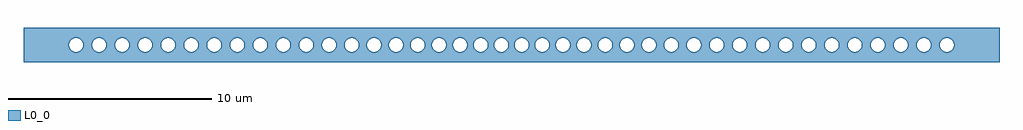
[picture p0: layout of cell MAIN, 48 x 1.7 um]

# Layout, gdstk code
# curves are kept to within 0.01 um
import gdstk
lib = gdstk.Library(unit=1e-6, precision=1e-09)
def P(c, l, *ps):  # polygons
    for p in ps: c.add(gdstk.Polygon(p, *l))
L0_0 = (0, 0)

main = lib.new_cell('MAIN')
P(main, L0_0, [(-21.446,-0.352),(-21.568,-0.318),(-21.673,-0.239),(-21.673,-0.85),(-21.446,-0.85)],
  [(-21.435,0.353),(-21.305,0.337),(-21.189,0.274),(-21.104,0.173),(-21.064,0.058),(-21.064,0.85),(-21.446,0.85),(-21.446,0.352)],
  [(-21.064,-0.058),(-21.104,-0.173),(-21.189,-0.274),(-21.305,-0.337),(-21.446,-0.352),(-21.446,-0.85),(-21.064,-0.85)],
  [(24,0.85),(21.675,0.85),(21.675,0.237),(21.734,0.149),(21.766,0.021),(21.746,-0.12),(21.675,-0.237),(21.675,-0.85),(24,-0.85)],
  [(-20.366,0.343),(-20.234,0.351),(-20.123,0.317),(-20.018,0.237),(-19.95,0.125),(-19.95,0.85),(-20.376,0.85),(-20.376,0.34)],
  [(-19.95,-0.125),(-20.018,-0.237),(-20.123,-0.317),(-20.255,-0.353),(-20.376,-0.34),(-20.376,-0.85),(-19.95,-0.85)],
  [(-20.634,0.003),(-20.618,0.107),(-20.562,0.215),(-20.486,0.288),(-20.376,0.34),(-20.376,0.85),(-21.064,0.85),(-21.059,0)],
  [(-19.298,0.32),(-19.171,0.353),(-19.04,0.337),(-18.924,0.274),(-18.845,0.182),(-18.845,0.85),(-19.308,0.85),(-19.308,0.315)],
  [(-18.845,-0.182),(-18.924,-0.274),(-19.05,-0.34),(-19.192,-0.351),(-19.308,-0.315),(-19.308,-0.85),(-18.845,-0.85)],
  [(-19.502,0.003),(-19.49,0.092),(-19.445,0.193),(-19.39,0.258),(-19.308,0.315),(-19.308,0.85),(-19.95,0.85),(-19.95,0.125),(-19.927,0)],
  [(-18.221,0.288),(-18.091,0.346),(-17.97,0.351),(-17.849,0.312),(-17.754,0.237),(-17.754,0.85),(-18.23,0.85)],
  [(-17.754,-0.237),(-17.849,-0.312),(-17.98,-0.352),(-18.117,-0.339),(-18.23,-0.282),(-18.23,-0.85),(-17.754,-0.85)],
  [(-18.37,0.003),(-18.331,0.161),(-18.23,0.282),(-18.23,0.85),(-18.845,0.85),(-18.845,0.182),(-18.806,0.089),(-18.795,0)],
  [(-17.141,0.243),(-17.039,0.318),(-16.906,0.353),(-16.776,0.337),(-16.668,0.28),(-16.668,0.85),(-17.144,0.85)],
  [(-16.668,-0.28),(-16.776,-0.337),(-16.906,-0.353),(-17.039,-0.318),(-17.144,-0.239),(-17.144,-0.85),(-16.668,-0.85)],
  [(-17.237,0.003),(-17.216,0.122),(-17.144,0.239),(-17.144,0.85),(-17.754,0.85),(-17.754,0.237),(-17.683,0.12),(-17.663,0)],
  [(-16.051,0.188),(-15.961,0.285),(-15.842,0.342),(-15.705,0.351),(-15.594,0.317),(-15.594,0.85),(-16.053,0.85)],
  [(-15.594,-0.317),(-15.705,-0.351),(-15.842,-0.342),(-15.961,-0.285),(-16.053,-0.184),(-16.053,-0.85),(-15.594,-0.85)],
  [(-16.105,0.003),(-16.093,0.092),(-16.053,0.184),(-16.053,0.85),(-16.668,0.85),(-16.668,0.28),(-16.565,0.154),(-16.53,0)],
  [(-14.947,0.132),(-14.88,0.239),(-14.774,0.318),(-14.642,0.353),(-14.521,0.34),(-14.521,0.85),(-14.949,0.85)],
  [(-14.521,-0.34),(-14.642,-0.353),(-14.774,-0.318),(-14.88,-0.239),(-14.949,-0.127),(-14.949,-0.85),(-14.521,-0.85)],
  [(-14.973,0.003),(-14.949,0.127),(-14.949,0.85),(-15.594,0.85),(-15.594,0.317),(-15.511,0.26),(-15.448,0.182),(-15.409,0.089),(-15.398,0)],
  [(-13.834,0.066),(-13.789,0.184),(-13.705,0.279),(-13.598,0.336),(-13.451,0.352),(-13.451,0.85),(-13.835,0.85)],
  [(-13.451,-0.352),(-13.598,-0.336),(-13.705,-0.279),(-13.789,-0.184),(-13.835,-0.061),(-13.835,-0.85),(-13.451,-0.85)],
  [(-13.84,0.003),(-13.835,0.85),(-14.521,0.85),(-14.521,0.34),(-14.416,0.29),(-14.333,0.208),(-14.286,0.12),(-14.266,0)],
  [(-12.708,0.003),(-12.681,0.137),(-12.608,0.247),(-12.505,0.32),(-12.388,0.352),(-12.388,0.85),(-13.133,0.85),(-13.133,-0.003)],
  [(-12.388,-0.352),(-12.505,-0.32),(-12.608,-0.247),(-12.681,-0.137),(-12.708,-0.003),(-13.133,-0.003),(-13.133,-0.85),(-12.388,-0.85)],
  [(-12.377,0.353),(-12.246,0.337),(-12.122,0.267),(-12.043,0.168),(-12.007,0.063),(-12.007,0.85),(-12.388,0.85),(-12.388,0.352)],
  [(-12.007,-0.063),(-12.051,-0.182),(-12.152,-0.29),(-12.256,-0.34),(-12.388,-0.352),(-12.388,-0.85),(-12.007,-0.85)],
  [(-13.133,0.85),(-13.451,0.85),(-13.451,0.352),(-13.334,0.319),(-13.235,0.249),(-13.156,0.125),(-13.133,0)],
  [(-11.308,0.343),(-11.176,0.351),(-11.065,0.317),(-10.956,0.233),(-10.891,0.125),(-10.891,0.85),(-11.318,0.85),(-11.318,0.34)],
  [(-10.891,-0.125),(-10.956,-0.233),(-11.065,-0.317),(-11.197,-0.353),(-11.318,-0.34),(-11.318,-0.85),(-10.891,-0.85)],
  [(-11.576,0.003),(-11.558,0.112),(-11.497,0.223),(-11.41,0.3),(-11.318,0.34),(-11.318,0.85),(-12.007,0.85),(-12.001,0)],
  [(-10.243,0.32),(-10.115,0.353),(-9.994,0.34),(-9.869,0.274),(-9.792,0.186),(-9.792,0.85),(-10.252,0.85)],
  [(-9.792,-0.186),(-9.869,-0.274),(-9.994,-0.34),(-10.126,-0.352),(-10.252,-0.315),(-10.252,-0.85),(-9.792,-0.85)],
  [(-10.446,0.003),(-10.433,0.097),(-10.389,0.193),(-10.327,0.265),(-10.252,0.315),(-10.252,0.85),(-10.891,0.85),(-10.891,0.125),(-10.869,0)],
  [(-9.175,0.288),(-9.061,0.342),(-8.924,0.351),(-8.803,0.312),(-8.708,0.237),(-8.708,0.85),(-9.184,0.85)],
  [(-8.708,-0.237),(-8.803,-0.312),(-8.934,-0.352),(-9.061,-0.342),(-9.184,-0.282),(-9.184,-0.85),(-8.708,-0.85)],
  [(-9.324,0.003),(-9.312,0.092),(-9.283,0.166),(-9.184,0.282),(-9.184,0.85),(-9.792,0.85),(-9.792,0.186),(-9.75,0.089),(-9.739,0)],
  [(-8.119,0.239),(-8.014,0.318),(-7.881,0.353),(-7.75,0.337),(-7.643,0.28),(-7.643,0.85),(-8.123,0.85)],
  [(-7.643,-0.28),(-7.75,-0.337),(-7.892,-0.352),(-8.014,-0.318),(-8.123,-0.235),(-8.123,-0.85),(-7.643,-0.85)],
  [(-8.212,0.003),(-8.189,0.127),(-8.123,0.235),(-8.123,0.85),(-8.708,0.85),(-8.708,0.237),(-8.637,0.12),(-8.617,0)],
  [(-7.06,0.188),(-6.979,0.279),(-6.851,0.342),(-6.715,0.351),(-6.604,0.317),(-6.604,0.85),(-7.063,0.85)],
  [(-6.604,-0.317),(-6.736,-0.353),(-6.872,-0.336),(-6.979,-0.279),(-7.063,-0.184),(-7.063,-0.85),(-6.604,-0.85)],
  [(-7.114,0.003),(-7.104,0.087),(-7.063,0.184),(-7.063,0.85),(-7.643,0.85),(-7.643,0.28),(-7.54,0.154),(-7.505,0)],
  [(-6.009,0.127),(-5.936,0.243),(-5.834,0.318),(-5.701,0.353),(-5.581,0.34),(-5.581,0.85),(-6.01,0.85)],
  [(-5.581,-0.34),(-5.701,-0.353),(-5.834,-0.318),(-5.936,-0.243),(-6.01,-0.122),(-6.01,-0.85),(-5.581,-0.85)],
  [(-6.032,0.003),(-6.01,0.122),(-6.01,0.85),(-6.604,0.85),(-6.604,0.317),(-6.521,0.26),(-6.463,0.191),(-6.426,0.115),(-6.407,0)],
  [(-4.96,0.066),(-4.915,0.184),(-4.831,0.279),(-4.714,0.339),(-4.582,0.352),(-4.582,0.85),(-4.961,0.85)],
  [(-4.582,-0.352),(-4.714,-0.339),(-4.831,-0.279),(-4.915,-0.184),(-4.961,-0.061),(-4.961,-0.85),(-4.582,-0.85)],
  [(-4.966,0.003),(-4.961,0.85),(-5.581,0.85),(-5.581,0.34),(-5.48,0.293),(-5.399,0.217),(-5.344,0.115),(-5.325,0)],
  [(-3.917,0.003),(-3.894,0.127),(-3.821,0.243),(-3.719,0.318),(-3.597,0.352),(-3.597,0.85),(-4.259,0.85),(-4.259,-0.003)],
  [(-3.597,-0.352),(-3.719,-0.318),(-3.821,-0.243),(-3.888,-0.142),(-3.917,-0.003),(-4.259,-0.003),(-4.259,-0.85),(-3.597,-0.85)],
  [(-3.586,0.353),(-3.455,0.337),(-3.34,0.274),(-3.26,0.182),(-3.216,0.063),(-3.216,0.85),(-3.597,0.85),(-3.597,0.352)],
  [(-3.216,-0.063),(-3.26,-0.182),(-3.361,-0.29),(-3.481,-0.344),(-3.597,-0.352),(-3.597,-0.85),(-3.216,-0.85)],
  [(-4.259,0.85),(-4.582,0.85),(-4.582,0.352),(-4.46,0.319),(-4.361,0.249),(-4.282,0.125),(-4.259,0)],
  [(-2.62,0.342),(-2.484,0.351),(-2.363,0.312),(-2.271,0.241),(-2.199,0.125),(-2.199,0.85),(-2.631,0.85),(-2.631,0.339)],
  [(-2.199,-0.125),(-2.271,-0.241),(-2.377,-0.319),(-2.505,-0.353),(-2.631,-0.339),(-2.631,-0.85),(-2.199,-0.85)],
  [(-2.883,0.003),(-2.864,0.117),(-2.811,0.215),(-2.731,0.291),(-2.631,0.339),(-2.631,0.85),(-3.216,0.85),(-3.21,0)],
  [(-1.66,0.32),(-1.532,0.353),(-1.412,0.34),(-1.307,0.29),(-1.209,0.186),(-1.209,0.85),(-1.67,0.85),(-1.67,0.315)],
  [(-1.209,-0.186),(-1.307,-0.29),(-1.412,-0.34),(-1.554,-0.351),(-1.67,-0.315),(-1.67,-0.85),(-1.209,-0.85)],
  [(-1.863,0.003),(-1.853,0.087),(-1.812,0.184),(-1.752,0.258),(-1.67,0.315),(-1.67,0.85),(-2.199,0.85),(-2.199,0.125),(-2.176,0)],
  [(-0.706,0.288),(-0.576,0.346),(-0.455,0.351),(-0.334,0.312),(-0.239,0.237),(-0.239,0.85),(-0.714,0.85)],
  [(-0.239,-0.237),(-0.334,-0.312),(-0.465,-0.352),(-0.602,-0.339),(-0.714,-0.282),(-0.714,-0.85),(-0.239,-0.85)],
  [(-0.854,0.003),(-0.816,0.161),(-0.714,0.282),(-0.714,0.85),(-1.209,0.85),(-1.209,0.186),(-1.169,0.094),(-1.156,0)],
  [(0.24,0.239),(0.346,0.318),(0.478,0.353),(0.599,0.34),(0.712,0.283),(0.712,0.85),(0.237,0.85)],
  [(0.712,-0.283),(0.599,-0.34),(0.457,-0.351),(0.327,-0.308),(0.237,-0.235),(0.237,-0.85),(0.712,-0.85)],
  [(0.147,0.003),(0.167,0.117),(0.237,0.235),(0.237,0.85),(-0.239,0.85),(-0.239,0.237),(-0.166,0.115),(-0.147,0)],
  [(1.211,0.188),(1.292,0.279),(1.409,0.339),(1.535,0.353),(1.667,0.317),(1.667,0.85),(1.208,0.85)],
  [(1.667,-0.317),(1.535,-0.353),(1.409,-0.339),(1.292,-0.279),(1.208,-0.184),(1.208,-0.85),(1.667,-0.85)],
  [(1.156,0.003),(1.171,0.102),(1.208,0.184),(1.208,0.85),(0.712,0.85),(0.712,0.283),(0.815,0.163),(0.846,0.079),(0.854,0)],
  [(2.2,0.127),(2.269,0.239),(2.375,0.318),(2.507,0.353),(2.628,0.34),(2.628,0.85),(2.198,0.85)],
  [(2.628,-0.34),(2.507,-0.353),(2.375,-0.318),(2.269,-0.239),(2.198,-0.122),(2.198,-0.85),(2.628,-0.85)],
  [(2.176,0.003),(2.198,0.122),(2.198,0.85),(1.667,0.85),(1.667,0.317),(1.75,0.26),(1.808,0.191),(1.851,0.094),(1.863,0)],
  [(3.216,0.066),(3.256,0.175),(3.346,0.279),(3.473,0.342),(3.594,0.352),(3.594,0.85),(3.215,0.85)],
  [(3.594,-0.352),(3.473,-0.342),(3.346,-0.279),(3.256,-0.175),(3.215,-0.061),(3.215,-0.85),(3.594,-0.85)],
  [(3.917,0.85),(3.594,0.85),(3.594,0.352),(3.721,0.317),(3.819,0.245),(3.895,0.125),(3.917,0.003)],
  [(3.917,-0.003),(3.895,-0.125),(3.819,-0.245),(3.721,-0.317),(3.594,-0.352),(3.594,-0.85),(3.917,-0.85)],
  [(4.259,0.003),(4.279,0.117),(4.352,0.239),(4.458,0.318),(4.58,0.352),(4.58,0.85),(3.917,0.85),(3.917,-0.003)],
  [(4.58,-0.352),(4.458,-0.318),(4.352,-0.239),(4.279,-0.117),(4.259,-0.003),(3.917,-0.003),(3.917,-0.85),(4.58,-0.85)],
  [(4.59,0.353),(4.721,0.337),(4.837,0.274),(4.911,0.191),(4.961,0.063),(4.961,0.85),(4.58,0.85),(4.58,0.352)],
  [(4.961,-0.063),(4.911,-0.191),(4.816,-0.29),(4.696,-0.344),(4.58,-0.352),(4.58,-0.85),(4.961,-0.85)],
  [(3.21,0.003),(3.215,0.85),(2.628,0.85),(2.628,0.34),(2.733,0.29),(2.816,0.208),(2.863,0.12),(2.883,0)],
  [(5.588,0.342),(5.725,0.351),(5.836,0.317),(5.934,0.245),(6.009,0.125),(6.009,0.85),(5.578,0.85),(5.578,0.339)],
  [(6.009,-0.125),(5.934,-0.245),(5.836,-0.317),(5.704,-0.353),(5.578,-0.339),(5.578,-0.85),(6.009,-0.85)],
  [(5.325,0.003),(5.343,0.112),(5.394,0.21),(5.469,0.285),(5.578,0.339),(5.578,0.85),(4.961,0.85),(4.966,0)],
  [(6.611,0.32),(6.738,0.353),(6.859,0.34),(6.985,0.274),(7.061,0.186),(7.061,0.85),(6.601,0.85),(6.601,0.315)],
  [(7.061,-0.186),(6.985,-0.274),(6.859,-0.34),(6.717,-0.351),(6.601,-0.315),(6.601,-0.85),(7.061,-0.85)],
  [(6.407,0.003),(6.419,0.092),(6.459,0.184),(6.519,0.258),(6.601,0.315),(6.601,0.85),(6.009,0.85),(6.009,0.125),(6.032,0)],
  [(7.649,0.285),(7.768,0.342),(7.905,0.351),(8.035,0.307),(8.121,0.237),(8.121,0.85),(7.641,0.85)],
  [(8.121,-0.237),(8.016,-0.317),(7.884,-0.353),(7.748,-0.336),(7.641,-0.279),(7.641,-0.85),(8.121,-0.85)],
  [(7.505,0.003),(7.541,0.156),(7.641,0.279),(7.641,0.85),(7.061,0.85),(7.061,0.186),(7.102,0.094),(7.114,0)],
  [(8.71,0.239),(8.815,0.318),(8.937,0.352),(9.068,0.34),(9.182,0.283),(9.182,0.85),(8.706,0.85)],
  [(9.182,-0.283),(9.068,-0.34),(8.927,-0.351),(8.815,-0.318),(8.706,-0.235),(8.706,-0.85),(9.182,-0.85)],
  [(8.617,0.003),(8.638,0.122),(8.706,0.235),(8.706,0.85),(8.121,0.85),(8.121,0.237),(8.19,0.125),(8.212,0)],
  [(9.793,0.188),(9.883,0.285),(10.002,0.342),(10.139,0.351),(10.25,0.317),(10.25,0.85),(9.791,0.85)],
  [(10.25,-0.317),(10.139,-0.351),(10.002,-0.342),(9.883,-0.285),(9.791,-0.184),(9.791,-0.85),(10.25,-0.85)],
  [(9.739,0.003),(9.751,0.092),(9.791,0.184),(9.791,0.85),(9.182,0.85),(9.182,0.283),(9.279,0.173),(9.314,0.084),(9.324,0)],
  [(10.892,0.127),(10.965,0.243),(11.067,0.318),(11.189,0.352),(11.315,0.341),(11.315,0.85),(10.89,0.85)],
  [(11.315,-0.341),(11.189,-0.352),(11.067,-0.318),(10.965,-0.243),(10.89,-0.122),(10.89,-0.85),(11.315,-0.85)],
  [(10.869,0.003),(10.89,0.122),(10.89,0.85),(10.25,0.85),(10.25,0.317),(10.333,0.26),(10.396,0.182),(10.435,0.089),(10.446,0)],
  [(12.007,0.066),(12.047,0.175),(12.137,0.279),(12.264,0.342),(12.385,0.352),(12.385,0.85),(12.006,0.85)],
  [(12.385,-0.352),(12.264,-0.342),(12.137,-0.279),(12.047,-0.175),(12.006,-0.061),(12.006,-0.85),(12.385,-0.85)],
  [(12.708,0.85),(12.385,0.85),(12.385,0.352),(12.512,0.317),(12.61,0.245),(12.68,0.139),(12.708,0.003)],
  [(12.708,-0.003),(12.68,-0.139),(12.61,-0.245),(12.512,-0.317),(12.385,-0.352),(12.385,-0.85),(12.708,-0.85)],
  [(13.133,0.003),(13.153,0.117),(13.226,0.239),(13.322,0.313),(13.448,0.351),(13.448,0.85),(12.708,0.85),(12.708,-0.003)],
  [(13.448,-0.351),(13.322,-0.313),(13.226,-0.239),(13.153,-0.117),(13.133,-0.003),(12.708,-0.003),(12.708,-0.85),(13.448,-0.85)],
  [(13.459,0.352),(13.595,0.337),(13.711,0.274),(13.785,0.191),(13.835,0.063),(13.835,0.85),(13.448,0.85),(13.448,0.351)],
  [(13.835,-0.063),(13.785,-0.191),(13.69,-0.29),(13.57,-0.344),(13.448,-0.351),(13.448,-0.85),(13.835,-0.85)],
  [(12.001,0.003),(12.006,0.85),(11.315,0.85),(11.315,0.341),(11.421,0.293),(11.502,0.217),(11.557,0.115),(11.576,0)],
  [(14.529,0.342),(14.665,0.351),(14.786,0.312),(14.871,0.249),(14.948,0.129),(14.948,0.85),(14.519,0.85),(14.519,0.339)],
  [(14.948,-0.129),(14.871,-0.249),(14.772,-0.319),(14.644,-0.353),(14.519,-0.339),(14.519,-0.85),(14.948,-0.85)],
  [(14.266,0.003),(14.287,0.122),(14.341,0.219),(14.418,0.291),(14.519,0.339),(14.519,0.85),(13.835,0.85),(13.84,0)],
  [(15.601,0.32),(15.729,0.353),(15.85,0.34),(15.975,0.274),(16.052,0.186),(16.052,0.85),(15.592,0.85)],
  [(16.052,-0.186),(15.975,-0.274),(15.85,-0.34),(15.718,-0.352),(15.592,-0.315),(15.592,-0.85),(16.052,-0.85)],
  [(15.398,0.003),(15.411,0.097),(15.455,0.193),(15.517,0.265),(15.592,0.315),(15.592,0.85),(14.948,0.85),(14.948,0.129),(14.973,0)],
  [(16.674,0.285),(16.793,0.342),(16.909,0.353),(17.041,0.317),(17.142,0.241),(17.142,0.85),(16.666,0.85)],
  [(17.142,-0.241),(17.041,-0.317),(16.909,-0.353),(16.773,-0.336),(16.666,-0.279),(16.666,-0.85),(17.142,-0.85)],
  [(16.53,0.003),(16.542,0.092),(16.571,0.166),(16.666,0.279),(16.666,0.85),(16.052,0.85),(16.052,0.186),(16.094,0.089),(16.105,0)],
  [(17.756,0.239),(17.861,0.318),(17.972,0.351),(18.099,0.344),(18.227,0.283),(18.227,0.85),(17.752,0.85)],
  [(18.227,-0.283),(18.114,-0.34),(17.972,-0.351),(17.842,-0.308),(17.752,-0.235),(17.752,-0.85),(18.227,-0.85)],
  [(17.663,0.003),(17.682,0.117),(17.752,0.235),(17.752,0.85),(17.142,0.85),(17.142,0.241),(17.215,0.125),(17.237,0)],
  [(18.846,0.184),(18.943,0.288),(19.058,0.342),(19.195,0.351),(19.306,0.317),(19.306,0.85),(18.844,0.85)],
  [(19.306,-0.317),(19.195,-0.351),(19.058,-0.342),(18.931,-0.279),(18.844,-0.179),(18.844,-0.85),(19.306,-0.85)],
  [(18.795,0.003),(18.808,0.097),(18.844,0.179),(18.844,0.85),(18.227,0.85),(18.227,0.283),(18.325,0.173),(18.361,0.079),(18.37,0)],
  [(19.951,0.127),(20.027,0.247),(20.116,0.313),(20.237,0.351),(20.374,0.341),(20.374,0.85),(19.949,0.85)],
  [(20.374,-0.341),(20.237,-0.351),(20.116,-0.313),(20.006,-0.223),(19.949,-0.122),(19.949,-0.85),(20.374,-0.85)],
  [(19.927,0.003),(19.949,0.122),(19.949,0.85),(19.306,0.85),(19.306,0.317),(19.4,0.249),(19.452,0.182),(19.488,0.099),(19.502,0)],
  [(21.065,0.061),(21.108,0.179),(21.195,0.279),(21.312,0.339),(21.443,0.352),(21.443,0.85),(21.064,0.85)],
  [(21.443,-0.352),(21.312,-0.339),(21.195,-0.279),(21.108,-0.179),(21.064,-0.055),(21.064,-0.85),(21.443,-0.85)],
  [(-21.673,-0.239),(-21.735,-0.147),(-21.766,-0.024),(-21.747,0.117),(-21.673,0.239),(-21.673,0.85),(-24,0.85),(-24,-0.85),(-21.673,-0.85)],
  [(-21.67,0.243),(-21.568,0.318),(-21.446,0.352),(-21.446,0.85),(-21.673,0.85)],
  [(21.675,0.85),(21.443,0.85),(21.443,0.352),(21.57,0.317),(21.675,0.237)],
  [(21.675,-0.237),(21.57,-0.317),(21.443,-0.352),(21.443,-0.85),(21.675,-0.85)],
  [(-20.376,-0.34),(-20.486,-0.288),(-20.562,-0.215),(-20.618,-0.107),(-20.634,0),(-21.059,0),(-21.064,-0.85),(-20.376,-0.85)],
  [(-19.308,-0.315),(-19.39,-0.258),(-19.445,-0.193),(-19.49,-0.092),(-19.502,0),(-19.927,0),(-19.95,-0.125),(-19.95,-0.85),(-19.308,-0.85)],
  [(-18.23,-0.282),(-18.294,-0.219),(-18.338,-0.147),(-18.37,0),(-18.795,0),(-18.806,-0.089),(-18.845,-0.182),(-18.845,-0.85),(-18.23,-0.85)],
  [(-17.144,-0.239),(-17.216,-0.122),(-17.237,0),(-17.663,0),(-17.683,-0.12),(-17.754,-0.237),(-17.754,-0.85),(-17.144,-0.85)],
  [(-16.053,-0.184),(-16.093,-0.092),(-16.105,0),(-16.53,0),(-16.565,-0.154),(-16.668,-0.28),(-16.668,-0.85),(-16.053,-0.85)],
  [(-14.949,-0.127),(-14.973,0),(-15.398,0),(-15.409,-0.089),(-15.448,-0.182),(-15.511,-0.26),(-15.594,-0.317),(-15.594,-0.85),(-14.949,-0.85)],
  [(-13.835,-0.061),(-13.84,0),(-14.266,0),(-14.281,-0.104),(-14.327,-0.2),(-14.416,-0.29),(-14.521,-0.34),(-14.521,-0.85),(-13.835,-0.85)],
  [(-13.133,0),(-13.156,-0.125),(-13.235,-0.249),(-13.334,-0.319),(-13.451,-0.352),(-13.451,-0.85),(-13.133,-0.85)],
  [(-11.318,-0.34),(-11.432,-0.285),(-11.51,-0.206),(-11.558,-0.112),(-11.576,0),(-12.001,0),(-12.007,-0.85),(-11.318,-0.85)],
  [(-10.252,-0.315),(-10.327,-0.265),(-10.389,-0.193),(-10.433,-0.097),(-10.446,0),(-10.869,0),(-10.891,-0.125),(-10.891,-0.85),(-10.252,-0.85)],
  [(-9.184,-0.282),(-9.283,-0.166),(-9.312,-0.092),(-9.324,0),(-9.739,0),(-9.75,-0.089),(-9.792,-0.186),(-9.792,-0.85),(-9.184,-0.85)],
  [(-8.123,-0.235),(-8.189,-0.127),(-8.212,0),(-8.617,0),(-8.637,-0.12),(-8.708,-0.237),(-8.708,-0.85),(-8.123,-0.85)],
  [(-7.063,-0.184),(-7.104,-0.087),(-7.114,0),(-7.505,0),(-7.54,-0.154),(-7.643,-0.28),(-7.643,-0.85),(-7.063,-0.85)],
  [(-6.01,-0.122),(-6.032,0),(-6.407,0),(-6.426,-0.115),(-6.463,-0.191),(-6.521,-0.26),(-6.604,-0.317),(-6.604,-0.85),(-6.01,-0.85)],
  [(-4.961,-0.061),(-4.966,0),(-5.325,0),(-5.344,-0.115),(-5.399,-0.217),(-5.48,-0.293),(-5.581,-0.34),(-5.581,-0.85),(-4.961,-0.85)],
  [(-4.259,0),(-4.282,-0.125),(-4.361,-0.249),(-4.46,-0.319),(-4.582,-0.352),(-4.582,-0.85),(-4.259,-0.85)],
  [(-2.631,-0.339),(-2.731,-0.291),(-2.811,-0.215),(-2.864,-0.117),(-2.883,0),(-3.21,0),(-3.216,-0.85),(-2.631,-0.85)],
  [(-1.67,-0.315),(-1.752,-0.258),(-1.812,-0.184),(-1.853,-0.087),(-1.863,0),(-2.176,0),(-2.199,-0.125),(-2.199,-0.85),(-1.67,-0.85)],
  [(-0.714,-0.282),(-0.779,-0.219),(-0.823,-0.147),(-0.854,0),(-1.156,0),(-1.169,-0.094),(-1.209,-0.186),(-1.209,-0.85),(-0.714,-0.85)],
  [(0.237,-0.235),(0.167,-0.117),(0.147,0),(-0.147,0),(-0.166,-0.115),(-0.239,-0.237),(-0.239,-0.85),(0.237,-0.85)],
  [(1.208,-0.184),(1.171,-0.102),(1.156,0),(0.854,0),(0.846,-0.079),(0.815,-0.163),(0.712,-0.283),(0.712,-0.85),(1.208,-0.85)],
  [(2.198,-0.122),(2.176,0),(1.863,0),(1.851,-0.094),(1.808,-0.191),(1.75,-0.26),(1.667,-0.317),(1.667,-0.85),(2.198,-0.85)],
  [(3.215,-0.061),(3.21,0),(2.883,0),(2.868,-0.104),(2.822,-0.2),(2.733,-0.29),(2.628,-0.34),(2.628,-0.85),(3.215,-0.85)],
  [(5.578,-0.339),(5.469,-0.285),(5.388,-0.202),(5.343,-0.112),(5.325,0),(4.966,0),(4.961,-0.85),(5.578,-0.85)],
  [(6.601,-0.315),(6.519,-0.258),(6.459,-0.184),(6.419,-0.092),(6.407,0),(6.032,0),(6.009,-0.125),(6.009,-0.85),(6.601,-0.85)],
  [(7.641,-0.279),(7.541,-0.156),(7.505,0),(7.114,0),(7.102,-0.094),(7.061,-0.186),(7.061,-0.85),(7.641,-0.85)],
  [(8.706,-0.235),(8.638,-0.122),(8.617,0),(8.212,0),(8.19,-0.125),(8.121,-0.237),(8.121,-0.85),(8.706,-0.85)],
  [(9.791,-0.184),(9.751,-0.092),(9.739,0),(9.324,0),(9.314,-0.084),(9.279,-0.173),(9.182,-0.283),(9.182,-0.85),(9.791,-0.85)],
  [(10.89,-0.122),(10.869,0),(10.446,0),(10.435,-0.089),(10.396,-0.182),(10.333,-0.26),(10.25,-0.317),(10.25,-0.85),(10.89,-0.85)],
  [(12.006,-0.061),(12.001,0),(11.576,0),(11.557,-0.115),(11.502,-0.217),(11.421,-0.293),(11.315,-0.341),(11.315,-0.85),(12.006,-0.85)],
  [(14.519,-0.339),(14.418,-0.291),(14.338,-0.215),(14.287,-0.122),(14.266,0),(13.84,0),(13.835,-0.85),(14.519,-0.85)],
  [(15.592,-0.315),(15.517,-0.265),(15.455,-0.193),(15.411,-0.097),(15.398,0),(14.973,0),(14.948,-0.129),(14.948,-0.85),(15.592,-0.85)],
  [(16.666,-0.279),(16.571,-0.166),(16.542,-0.092),(16.53,0),(16.105,0),(16.094,-0.089),(16.052,-0.186),(16.052,-0.85),(16.666,-0.85)],
  [(17.752,-0.235),(17.682,-0.117),(17.663,0),(17.237,0),(17.215,-0.125),(17.142,-0.241),(17.142,-0.85),(17.752,-0.85)],
  [(18.844,-0.179),(18.808,-0.097),(18.795,0),(18.37,0),(18.361,-0.079),(18.325,-0.173),(18.227,-0.283),(18.227,-0.85),(18.844,-0.85)],
  [(19.949,-0.122),(19.927,0),(19.502,0),(19.488,-0.099),(19.452,-0.182),(19.4,-0.249),(19.306,-0.317),(19.306,-0.85),(19.949,-0.85)],
  [(21.064,-0.055),(21.059,0),(20.634,0),(20.612,-0.125),(20.557,-0.221),(20.475,-0.296),(20.374,-0.341),(20.374,-0.85),(21.064,-0.85)],
  [(21.059,0.003),(21.064,0.85),(20.374,0.85),(20.374,0.341),(20.475,0.296),(20.557,0.221),(20.612,0.125),(20.634,0)])

lib.write_gds('MAIN.gds')
